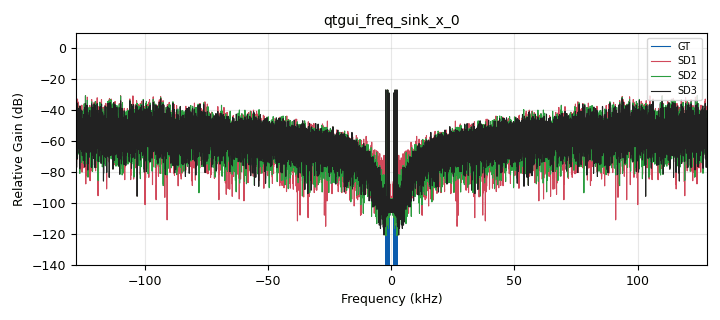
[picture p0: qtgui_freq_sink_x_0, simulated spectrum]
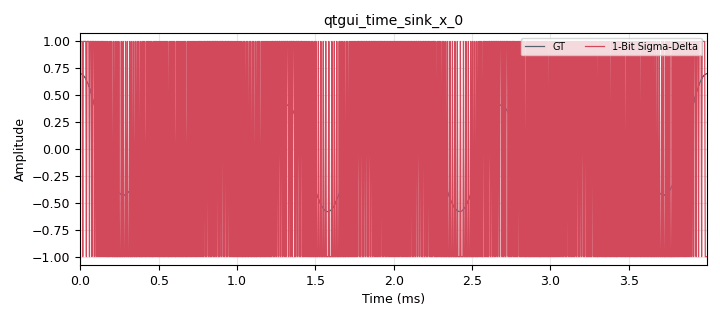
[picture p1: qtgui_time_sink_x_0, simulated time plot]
options:
  parameters:
    generate_options: qt_gui
    id: SD_comparison_v2
    output_language: python
    title: Sigma-Delta Comparison
  states: {}

blocks:
- name: samp_rate
  id: variable
  parameters:
    value: '256000'
  states: {}
- name: analog_sig_source_x_0
  id: analog_sig_source_x
  parameters:
    amp: '0.2'
    freq: '1000'
    offset: '0'
    phase: '0'
    samp_rate: samp_rate
    type: complex
    waveform: analog.GR_COS_WAVE
  states: {}
- name: analog_sig_source_x_0_0
  id: analog_sig_source_x
  parameters:
    amp: '0.25'
    freq: '1500'
    offset: '0'
    phase: '0'
    samp_rate: samp_rate
    type: complex
    waveform: analog.GR_COS_WAVE
  states: {}
- name: analog_sig_source_x_0_0_0
  id: analog_sig_source_x
  parameters:
    amp: '0.25'
    freq: '2250'
    offset: '0'
    phase: '0'
    samp_rate: samp_rate
    type: complex
    waveform: analog.GR_COS_WAVE
  states: {}
- name: blocks_add_xx_0
  id: blocks_add_xx
  parameters:
    type: complex
  states: {}
- name: blocks_add_xx_0_0
  id: blocks_add_xx
  parameters:
    type: complex
  states: {}
- name: blocks_complex_to_real_0
  id: blocks_complex_to_real
  parameters: {}
  states: {}
- name: blocks_head_0
  id: blocks_head
  parameters:
    num_items: '32768'
    type: complex
  states: {}
- name: epy_block_0
  id: epy_block
  parameters:
    _source_code: |
      """
      Embedded Python Blocks:

      Each time this file is saved, GRC will instantiate the first class it finds
      to get ports and parameters of your block. The arguments to __init__  will
      be the parameters. All of them are required to have default values!
      """

      import numpy as np
      from gnuradio import gr


      class SD1(gr.sync_block):  # other base classes are basic_block, decim_block, interp_block
          """1st-Order Sigma-Delta Modulator Block"""

          def __init__(self, a=1.0, b=1.0, c=1.0):  # only default arguments here
              """
              Args:
                  a: Feedforward gain for the integrator
                  b: Feedback gain for the integrator
                  c: Gain for the previous output
              """
              gr.sync_block.__init__(
                  self,
                  name='Sigma-Delta Order 1',   # will show up in GRC
                  in_sig=[np.float32],
                  out_sig=[np.float32]
              )
              # if an attribute with the same name as a parameter is found,
              # a callback is registered (properties work, too).
              self.a = a
              self.b = b
              self.c = c

              self.i = 0.0
              self.i_prev = 0.0

          def work(self, input_items, output_items):
              """example: multiply with constant"""
              in_sig = input_items[0]
              out_sig = output_items[0]

              for i in range(len(in_sig)):
                  x = in_sig[i - 1] if i > 0 else 0.0

                  prev_out = out_sig[i-1] if i > 0 else 0.0

                  int_in = x * self.b - self.c * prev_out
                  # Update integrator variable
                  self.i = self.i_prev + int_in

                  sigma = self.a * self.i

                  out_sig[i] = 1.0 if sigma > 0 else -1.0

                  self.i_prev = self.i

              return len(out_sig)
    a: '0.667'
    b: '1'
    c: '1'
  states: {}
- name: epy_block_1
  id: epy_block
  parameters:
    _source_code: |
      """
      Embedded Python Blocks:

      Each time this file is saved, GRC will instantiate the first class it finds
      to get ports and parameters of your block. The arguments to __init__  will
      be the parameters. All of them are required to have default values!
      """

      import numpy as np
      from gnuradio import gr


      class SD2(gr.sync_block):  # other base classes are basic_block, decim_block, interp_block
          """2nd-Order Sigma-Delta Modulator Block"""

          def __init__(self, a1=1.0, a2=1.0, b1=1.0, b2=0.0, b3=0.0, c1=1.0, c2=1.0):
              """
              Args:
                  a1: Gain for the 1st integrator.
                  a2: Gain for the 2nd integrator.
                  b1: Gain for the 1st input.
                  b2: Gain for the 2nd input.
                  b3: Gain for the 3rd input.
                  c1: Gain for the negative feedback.
                  c2: Feedforward gain between two integrators.
              """
              gr.sync_block.__init__(
                  self,
                  name='Sigma-Delta Order 2',   # will show up in GRC
                  in_sig=[np.float32],
                  out_sig=[np.float32]
              )
              # if an attribute with the same name as a parameter is found,
              # a callback is registered (properties work, too).
              self.a1 = a1
              self.a2 = a2
              self.b1 = b1
              self.b2 = b2
              self.b3 = b3
              self.c1 = c1
              self.c2 = c2

              self.i1 = 0.0
              self.i1_prev = 0.0
              self.i2 = 0.0
              self.i2_prev = 0.0


          def work(self, input_items, output_items):
              """example: multiply with constant"""
              in_sig = input_items[0]
              out_sig = output_items[0]

              for i in range(len(in_sig)):
                  x = in_sig[i - 1] if i > 0 else 0.0

                  prev_out = out_sig[i-1] if i > 0 else 0.0

                  # Update integrator variable
                  int1_in = x * self.b1 - self.c1 * prev_out
                  self.i1 = self.i1_prev + int1_in

                  int2_in = x * self.b2 + self.c2 * self.i1
                  self.i2 = self.i2_prev + int2_in

                  sigma = self.a1 * self.i1 + self.a2 * self.i2 + self.b3 * x

                  out_sig[i] = 1.0 if sigma > 0 else -1.0

                  self.i1_prev = self.i1
                  self.i2_prev = self.i2

              return len(out_sig)
    a1: '0.7749'
    a2: '0.2164'
    b1: '1.0'
    b2: '0.0'
    b3: '0.0'
    c1: '1.0'
    c2: '1.0'
  states: {}
- name: epy_block_2
  id: epy_block
  parameters:
    _source_code: |
      """
      Embedded Python Blocks:

      Each time this file is saved, GRC will instantiate the first class it finds
      to get ports and parameters of your block. The arguments to __init__  will
      be the parameters. All of them are required to have default values!
      """

      import numpy as np
      from gnuradio import gr


      class SD3(gr.sync_block):  # other base classes are basic_block, decim_block, interp_block
          """3rd-Order Sigma-Delta Modulator Block"""

          def __init__(self, a1=1.0, a2=1.0, a3=1.0, b1=1.0, b2=0.0, b3=0.0, b4=0.0, c1=1.0, c2=1.0, c3=1.0):
              """
              Args:
                  a1: Gain for the 1st integrator.
                  a2: Gain for the 2nd integrator.
                  a3: Gain for the 3rd integrator.
                  b1: Gain for the 1st input.
                  b2: Gain for the 2nd input.
                  b3: Gain for the 3rd input.
                  b4: Gain for the 4th input.
                  c1: Gain for the negative feedback.
                  c2: Feedforward gain between integrator 1 and integrator 2.
                  c3: Feedforward gain between integrator 2 and integrator 3.
              """
              gr.sync_block.__init__(
                  self,
                  name='Sigma-Delta Order 3',   # will show up in GRC
                  in_sig=[np.float32],
                  out_sig=[np.float32]
              )
              # if an attribute with the same name as a parameter is found,
              # a callback is registered (properties work, too).
              self.a1 = a1
              self.a2 = a2
              self.a3 = a3
              self.b1 = b1
              self.b2 = b2
              self.b3 = b3
              self.b4 = b4
              self.c1 = c1
              self.c2 = c2
              self.c3 = c3
              
              self.i1 = 0.0
              self.i1_prev = 0.0
              self.i2 = 0.0
              self.i2_prev = 0.0
              self.i3 = 0.0
              self.i3_prev = 0.0


          def work(self, input_items, output_items):
              """example: multiply with constant"""
              in_sig = input_items[0]
              out_sig = output_items[0]

              for i in range(len(in_sig)):
                  x = in_sig[i - 1] if i > 0 else 0.0

                  prev_out = out_sig[i-1] if i > 0 else 0.0

                  # Update integrator variable
                  int1_in = x * self.b1 - self.c1 * prev_out
                  self.i1 = self.i1_prev + int1_in

                  int2_in = x * self.b2 + self.c2 * self.i1
                  self.i2 = self.i2_prev + int2_in

                  int3_in = x * self.b3 + self.c3 * self.i2
                  self.i3 = self.i3_prev + int3_in

                  sigma = self.a1 * self.i1 + self.a2 * self.i2 + self.a3 * self.i3 + self.b4 * x

                  out_sig[i] = 1.0 if sigma > 0 else -1.0

                  self.i1_prev = self.i1
                  self.i2_prev = self.i2
                  self.i3_prev = self.i3

              return len(out_sig)
    a1: '0.7997'
    a2: '0.2881'
    a3: '0.044'
    b1: '1.0'
    b2: '0.0'
    b3: '0.0'
    b4: '0.0'
    c1: '1.0'
    c2: '1.0'
    c3: '1.0'
  states: {}
- name: qtgui_freq_sink_x_0
  id: qtgui_freq_sink_x
  parameters:
    bw: samp_rate
    color1: '"dark blue"'
    color4: '"yellow"'
    fc: '0'
    fftsize: '32768'
    label1: '''GT'''
    label2: '''SD1'''
    label3: '''SD2'''
    label4: '''SD3'''
    nconnections: '4'
    type: float
    width1: '4'
    width2: '3'
    width3: '2'
  states: {}
- name: qtgui_time_sink_x_0
  id: qtgui_time_sink_x
  parameters:
    label1: GT
    label2: 1-Bit Sigma-Delta
    nconnections: '2'
    size: '1024'
    srate: samp_rate
    type: float
  states: {}

connections:
- [analog_sig_source_x_0, '0', blocks_add_xx_0, '0']
- [analog_sig_source_x_0_0, '0', blocks_add_xx_0, '1']
- [analog_sig_source_x_0_0_0, '0', blocks_add_xx_0_0, '1']
- [blocks_add_xx_0, '0', blocks_add_xx_0_0, '0']
- [blocks_add_xx_0_0, '0', blocks_head_0, '0']
- [blocks_complex_to_real_0, '0', epy_block_0, '0']
- [blocks_complex_to_real_0, '0', epy_block_1, '0']
- [blocks_complex_to_real_0, '0', epy_block_2, '0']
- [blocks_complex_to_real_0, '0', qtgui_freq_sink_x_0, '0']
- [blocks_complex_to_real_0, '0', qtgui_time_sink_x_0, '0']
- [blocks_head_0, '0', blocks_complex_to_real_0, '0']
- [epy_block_0, '0', qtgui_freq_sink_x_0, '1']
- [epy_block_0, '0', qtgui_time_sink_x_0, '1']
- [epy_block_1, '0', qtgui_freq_sink_x_0, '2']
- [epy_block_2, '0', qtgui_freq_sink_x_0, '3']

metadata:
  file_format: 1
  grc_version: 3.10.9.2
